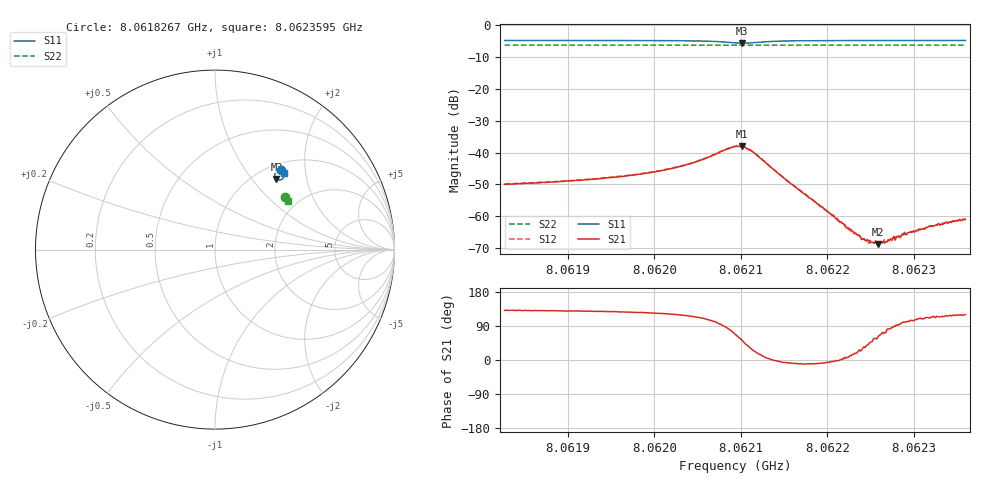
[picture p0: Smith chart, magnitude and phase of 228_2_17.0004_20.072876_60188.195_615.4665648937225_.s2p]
#  HZ  S  RI  R  50.00
! Rohde & Schwarz Vector Network Analyzer
! Rohde-Schwarz,ZNB20-2Port,1311601062101988,3.16
! Created: UTC 3/20/2024, 11:02:15 PM
! freq[Hz]  re:S11  im:S11  re:S21  im:S21  re:S12  im:S12  re:S22  im:S22
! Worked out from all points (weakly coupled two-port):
!   401 points, 8.0618267 GHz to 8.0623595 GHz, reference 50 ohm
!   highest |S21| = -38.03 dB at 8.0621011 GHz (marker M1); lowest = -68.8 dB at 8.0622582 GHz (marker M2)
!   lowest |S11| = -5.7 dB at 8.0621011 GHz (marker M3), VSWR 3.18, Z = 62 + j67 ohm
!   |S11| at or under -10 dB: nowhere
!   |S22| runs from -6.3 to -6.2 dB; largest |S21 - S12| = 0.00097
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8.06182671e9  0.3655 0.4449  -0.00207 0.0024  -0.00193 0.00255  0.3873 0.2956
8.06191595e9  0.3721 0.439  -0.00233 0.00287  -0.00217 0.00304  0.3904 0.291
8.0619639e9  0.3761 0.4345  -0.00254 0.00338  -0.00238 0.00356  0.3921 0.2887
8.06200518e9  0.3802 0.4289  -0.00281 0.0043  -0.00259 0.0045  0.3935 0.2864
8.06204647e9  0.3842 0.4175  -0.00285 0.00642  -0.00252 0.00666  0.3948 0.284
8.06209309e9  0.3571 0.3877  0.0046 0.0116  0.0052 0.0114  0.3945 0.281
8.06210108e9  0.3422 0.3934  0.00763 0.00996  0.00831 0.00932  0.3942 0.2812
8.06210774e9  0.3343 0.4044  0.00902 0.00705  0.00949 0.00655  0.3942 0.2814
8.06211706e9  0.3336 0.4205  0.00886 0.00339  0.0091 0.0028  0.3949 0.2816
8.06215569e9  0.3575 0.4396  0.00337 -0.000485  0.00338 -0.000654  0.3975 0.2804
8.06218232e9  0.3664 0.4386  0.00179 -0.000303  0.00179 -0.000377  0.3986 0.2789
8.06220896e9  0.3717 0.4368  0.000933 -3.8e-05  0.000964 -0.00015  0.3995 0.2777
8.06222628e9  0.3744 0.4356  0.000617 0.000132  0.000601 8.63e-05  0.4003 0.2765
8.06224226e9  0.3762 0.4343  0.000363 0.000249  0.000378 0.000228  0.4007 0.2759
8.06224625e9  0.3769 0.434  0.000335 0.000271  0.000335 0.000261  0.401 0.2757
8.06225824e9  0.3782 0.4331  0.000183 0.000315  0.000204 0.000328  0.4014 0.275
8.0622609e9  0.3785 0.4331  0.00016 0.000363  0.00017 0.000343  0.4014 0.2748
8.06226756e9  0.3789 0.4326  0.000122 0.000382  8.8e-05 0.000421  0.4017 0.2746
8.06227156e9  0.3795 0.4324  5.87e-05 0.000422  5.73e-05 0.000405  0.4018 0.2741
8.06228754e9  0.3809 0.4312  -9.27e-05 0.000499  -4.13e-05 0.000516  0.4024 0.2734
8.06231684e9  0.3834 0.4295  -0.000249 0.000638  -0.000244 0.000658  0.4033 0.2719
8.06235946e9  0.3865 0.427  -0.000444 0.000779  -0.000412 0.000797  0.4048 0.2699
